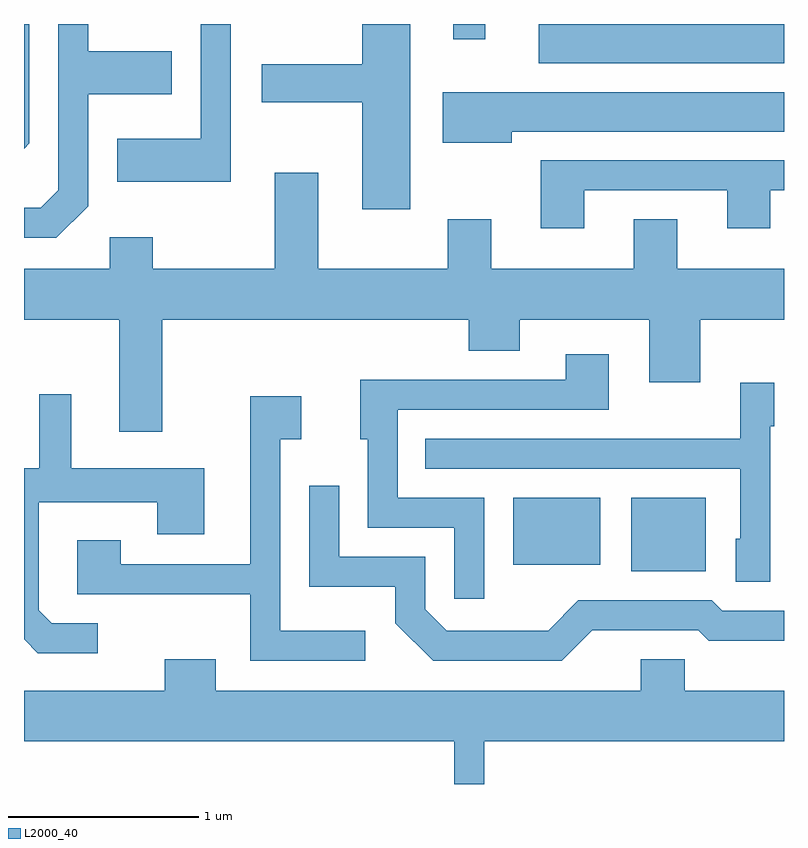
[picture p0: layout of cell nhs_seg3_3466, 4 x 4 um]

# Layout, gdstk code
import gdstk
lib = gdstk.Library(unit=1e-6, precision=1e-09)
def R(c, l, rs):  # rectangles x0, y0, x1, y1
    for r in rs: c.add(gdstk.rectangle(r[:2], r[2:], *l))
def P(c, l, *ps):  # polygons
    for p in ps: c.add(gdstk.Polygon(p, *l))
L2000_40 = (2000, 40)

nhs_seg3_3466 = lib.new_cell('nhs_seg3_3466')
R(nhs_seg3_3466, L2000_40, [(288.806,1249.011,289.199,1249.399), (288.186,1249.046,288.644,1249.399), (288.321,1251.686,289.611,1251.892), (287.871,1251.813,288.039,1251.892)])
P(nhs_seg3_3466, L2000_40, [(285.639,1251.264),(285.639,1251.892),(285.611,1251.892),(285.611,1251.236)],
  [(287.644,1251.892),(287.391,1251.892),(287.391,1251.679),(286.861,1251.679),(286.861,1251.481),(287.391,1251.481),(287.391,1250.916),(287.644,1250.916)],
  [(285.949,1250.934),(285.949,1251.521),(286.389,1251.521),(286.389,1251.749),(285.949,1251.749),(285.949,1251.892),(285.791,1251.892),(285.791,1251.017),(285.699,1250.924),(285.611,1250.924),(285.611,1250.766),(285.782,1250.766)],
  [(286.699,1251.892),(286.541,1251.892),(286.541,1251.289),(286.101,1251.289),(286.101,1251.061),(286.699,1251.061)],
  [(288.179,1251.326),(289.611,1251.326),(289.611,1251.534),(287.816,1251.534),(287.816,1251.266),(288.179,1251.266)],
  [(288.559,1251.016),(289.311,1251.016),(289.311,1250.816),(289.539,1250.816),(289.539,1251.016),(289.611,1251.016),(289.611,1251.174),(288.331,1251.174),(288.331,1250.816),(288.559,1250.816)],
  [(286.339,1250.336),(287.951,1250.336),(287.951,1250.171),(288.219,1250.171),(288.219,1250.336),(288.901,1250.336),(288.901,1250.006),(289.169,1250.006),(289.169,1250.336),(289.611,1250.336),(289.611,1250.604),(289.049,1250.604),(289.049,1250.864),(288.821,1250.864),(288.821,1250.604),(288.069,1250.604),(288.069,1250.864),(287.841,1250.864),(287.841,1250.604),(287.159,1250.604),(287.159,1251.109),(286.931,1251.109),(286.931,1250.604),(286.289,1250.604),(286.289,1250.769),(286.061,1250.769),(286.061,1250.604),(285.611,1250.604),(285.611,1250.336),(286.111,1250.336),(286.111,1249.746),(286.339,1249.746)],
  [(288.034,1249.399),(287.579,1249.399),(287.579,1249.861),(288.689,1249.861),(288.689,1250.154),(288.461,1250.154),(288.461,1250.019),(287.381,1250.019),(287.381,1249.706),(287.421,1249.706),(287.421,1249.241),(287.876,1249.241),(287.876,1248.868),(288.034,1248.868)],
  [(289.539,1249.776),(289.559,1249.776),(289.559,1250.004),(289.381,1250.004),(289.381,1249.709),(287.723,1249.709),(287.723,1249.551),(289.381,1249.551),(289.381,1249.184),(289.356,1249.184),(289.356,1248.956),(289.539,1248.956)],
  [(285.998,1248.739),(285.757,1248.739),(285.689,1248.807),(285.689,1249.376),(286.311,1249.376),(286.311,1249.206),(286.559,1249.206),(286.559,1249.554),(285.859,1249.554),(285.859,1249.943),(285.691,1249.943),(285.691,1249.554),(285.611,1249.554),(285.611,1248.654),(285.684,1248.581),(285.998,1248.581)],
  [(287.408,1248.699),(286.959,1248.699),(286.959,1249.706),(287.069,1249.706),(287.069,1249.934),(286.801,1249.934),(286.801,1249.049),(286.119,1249.049),(286.119,1249.174),(285.891,1249.174),(285.891,1248.891),(286.801,1248.891),(286.801,1248.541),(287.408,1248.541)],
  [(288.602,1248.701),(289.159,1248.701),(289.214,1248.646),(289.611,1248.646),(289.611,1248.804),(289.287,1248.804),(289.232,1248.859),(288.529,1248.859),(288.369,1248.699),(287.837,1248.699),(287.724,1248.812),(287.724,1249.089),(287.269,1249.089),(287.269,1249.463),(287.111,1249.463),(287.111,1248.931),(287.566,1248.931),(287.566,1248.739),(287.764,1248.541),(288.442,1248.541)],
  [(288.034,1248.116),(289.611,1248.116),(289.611,1248.384),(289.089,1248.384),(289.089,1248.549),(288.856,1248.549),(288.856,1248.384),(286.619,1248.384),(286.619,1248.549),(286.351,1248.549),(286.351,1248.384),(285.611,1248.384),(285.611,1248.116),(287.876,1248.116),(287.876,1247.892),(288.034,1247.892)])

lib.write_gds('nhs_seg3_3466.gds')
